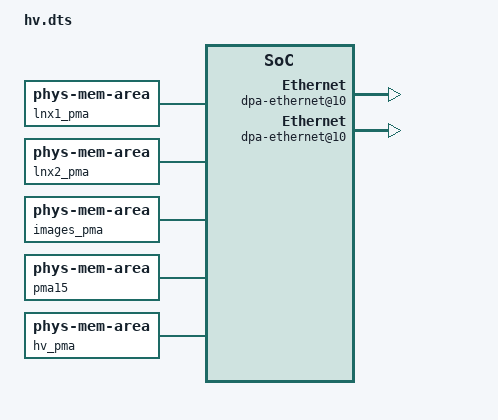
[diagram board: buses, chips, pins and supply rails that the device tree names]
/* Hypervisor Configuration tree containing all hypervisor configuration
 * parameters and partition definition information.
 * (Note -- Please refer to Hypervisor SW Reference Manual
 * (Chapter 5 Configuration) for further details)
 *
 * Copyright 2011 Freescale Semiconductor, Inc.
 */

/dts-v1/;

/ {	// root node

	// The root node of the configuration device tree must contain a
	// compatible property that identifies the device tree as a hypervisor

	compatible = "fsl,hv-config";

	// =====================================================
	// Physical Memory Areas
	// =====================================================
	lnx1_pma: lnx1_pma {
		compatible = "phys-mem-area";
		addr = <0x0 0x00000000>;	// Linux
		size = <0x0 0x40000000>;	// 1GB
	};

	lnx2_pma: lnx2_pma {
		compatible = "phys-mem-area";
		addr = <0x0 0x40000000>;	// Linux
		size = <0x0 0x20000000>;	// 512MB
	};

	images_pma: images_pma {
		compatible = "phys-mem-area";
		addr = <0x0 0x78000000>;	// Used for boot-from-RAM
		size = <0x0 0x04000000>;	// 64MB
	};

	pma15: pma15 {
		compatible = "phys-mem-area";
		addr = <0x0 0x7c000000>;	// For MAC-less Ethernet Linux1 and Linux2
		size = <0x0 0x01000000>;	// 16MB
	};

	hv_pma: hv_pma {
		compatible = "phys-mem-area";
		addr = <0x0 0x7f000000>;	// Hypervisor
		size = <0x0 0x01000000>;	// 16MB
	};

	// =====================================================
	// DMA Windows
	// =====================================================
	dma-windows {
		// DMA window for part1_linux
		dw_linux1: dw_linux1 {
			compatible = "dma-window";
			guest-addr = <0 0>;
			size = <0 0x80000000>; // 2GB
			subwindow-count = <4>;

			sub-window@0 {
				compatible = "dma-subwindow";
				guest-addr = <0 0>;
				size = <0 0x20000000>; // 512MB
			};

			sub-window@1 {
				compatible = "dma-subwindow";
				guest-addr = <0 0x20000000>;
				size = <0 0x20000000>; // 512MB
			};

			sub-window@2 {		// Inter-partition region
				compatible = "dma-subwindow";
				guest-addr = <0 0x40000000>;
				size = <0 0x1000000>; // 16MB
			};

			sub-window@3 {		// MSI sub-window
				compatible = "dma-subwindow";
				guest-addr = <0 0x60000000>;
				size = <0 0x1000>; // 4KB
				pcie-msi-subwindow;
			};
		};

		// DMA window for part2_linux
		dw_linux2: dw_linux2 {
			compatible = "dma-window";
			guest-addr = <0 0>;
			size = <0 0x80000000>; // 2GB
			subwindow-count = <4>;

			sub-window@0 {
				compatible = "dma-subwindow";
				guest-addr = <0 0>;
				size = <0 0x20000000>; // 512MB
			};

			sub-window@1 {		// Inter-partition region
				compatible = "dma-subwindow";
				guest-addr = <0 0x40000000>;
				size = <0 0x1000000>; // 16MB
			};

			sub-window@2 {		// MSI sub-window
				compatible = "dma-subwindow";
				guest-addr = <0 0x60000000>;
				size = <0 0x1000000>; // 64MB
				pcie-msi-subwindow;
			};
		};

		// DMA window for stash_dqrr for qman-portal0
		dw_dqrr_qportal0: window3 {
			compatible = "dma-window";
			guest-addr = <0xf 0xf4200000>;
			size = <0 0x4000>;
		};

		// DMA window for stash_dqrr for qman-portal1
		dw_dqrr_qportal1: window4 {
			compatible = "dma-window";
			guest-addr = <0xf 0xf4204000>;
			size = <0 0x4000>;
		};

		// DMA window for stash_dqrr for qman-portal2
		dw_dqrr_qportal2: window5 {
			compatible = "dma-window";
			guest-addr = <0xf 0xf4208000>;
			size = <0 0x4000>;
		};

		// DMA window for stash_dqrr for qman-portal4
		dw_dqrr_qportal4: window7 {
			compatible = "dma-window";
			guest-addr = <0xf 0xf4210000>;
			size = <0 0x4000>;
		};

		// DMA window for stash_dqrr for qman-portal5
		dw_dqrr_qportal5: window8 {
			compatible = "dma-window";
			guest-addr = <0xf 0xf4214000>;
			size = <0 0x4000>;
		};

		// DMA window for stash_dqrr for qman-portal6
		dw_dqrr_qportal6: window9 {
			compatible = "dma-window";
			guest-addr = <0xf 0xf4218000>;
			size = <0 0x4000>;
		};

		// DMA window for stash_dqrr for qman-portal7
		dw_dqrr_qportal7: window10 {
			compatible = "dma-window";
			guest-addr = <0xf 0xf421c000>;
			size = <0 0x4000>;
		};
	};

	// =====================================================
	// Hypervisor Config
	// Hypervisor is also configured via the Hypervisor
	// configuration tree. A special node and subtree defines
	// set of global configuration parameters and a number of
	// device nodes assigning I/O devices to the hypervisor
	// =====================================================
	hv: hypervisor-config {
		compatible = "hv-config";

		// phandle to byte-channel used for hypervisor's console
		stdout = <&hvbc>;

		hv-memory {
			compatible = "hv-memory";
			phys-mem = <&hv_pma>;
		};

		hvbc: byte-channel {
			compatible = "byte-channel";
			endpoint = <&uartmux>;
			mux-channel = <0>;
		};

		// Device nodes given below are the physical I/O
		// devices assigned to hypervisor
		corenet-law {
			device = "/soc/corenet-law";
		};

		cpc {
			device = "/soc/l3-cache-controller";
		};

		corenet-cf {
			device = "/soc/corenet-cf";
		};

		guts {
			device = "/soc/global-utilities@e0000";
		};

		rcpm {
			device = "/soc/global-utilities@e2000";
		};

		iommu {
			device = "/soc/iommu";
		};

		mpic {
			device = "/soc/pic@40000";
		};

		serial0: serial0 {
			device = "serial0";
		};

		serial1: serial1 {
			device = "serial1";
		};
	};

	// =====================================================
	// UART mux
	// This node is referenced by byte-channels that use mux
	// as an endpoint
	// =====================================================
	uartmux: uartmux {
		compatible = "byte-channel-mux";
		endpoint = <&serial0>;
	};

	// =====================================================
	// To keep the scenarios hv-1/2/4p as diff-able as possible
	// we always use labels part1, part2, part<n>
	// In hv-2p scenario, there are 2 partitions - 2 Linux
	// Partition1 --- part1 --- Linux partition
	// Partition2 --- part2 --- Linux partition
	// =====================================================

	// =====================================================
	// Partition 1
	// =====================================================
	part1 {
		// Indicates that it is a partition node
		compatible = "partition";
		label = "p1-linux";

		// CPUs #0 to #2 are assigned to this partition
		cpus = <0 3>;
		guest-image = <0xf 0xe8020000 0 0 0 0x700000>;
		linux-rootfs = <0xf 0xe9300000 0 0x01300000 0 0x02800000>;
		dtb-window = <0 0x1000000 0 0x12000>;

		// Temporary until Linux uses enable LIODN hcall
		no-dma-disable;

		gpma0 {
			compatible = "guest-phys-mem-area";
			phys-mem = <&lnx1_pma>;
			guest-addr = <0 0>;
		};

		gpma1 {
			compatible = "guest-phys-mem-area";
			phys-mem = <&pma15>;	// Interpartition between Linux1 - Linux2
			guest-addr = <0 0x40000000>;
			node-update {
				delete-prop = "device_type";
			};
		};

		aliases {
			stdout = <&part1_bc0>;
		};

		// =====================================================
		// Devices assigned to the partition - device nodes
		// device node is child of partition node and is used to
		// assign physical I/O devices to partition
		// =====================================================
		part1_bc0: byte-channel@1 {
			compatible = "byte-channel";
			endpoint = <&uartmux>;
			mux-channel = <1>;
		};

		// Bman portals assigned to this partition
		bman-portal@0 {
			device = "/bman-portals/bman-portal@0";
		};

		bman-portal@4000 {
			device = "/bman-portals/bman-portal@4000";
		};

		bman-portal@8000 {
			device = "/bman-portals/bman-portal@8000";
		};

		bman-portal@10000 {
			device = "/bman-portals/bman-portal@10000";
		};

		bman-portal@14000 {
			device = "/bman-portals/bman-portal@14000";
		};

		bman-portal@18000 {
			device = "/bman-portals/bman-portal@18000";
		};

		// Bman buffer pools assigned to this partition
		buffer-pool@7 {
			device = "buffer-pool@7";
		};

		buffer-pool@8 {
			device = "buffer-pool@8";
		};

		buffer-pool@9 {
			device = "buffer-pool@9";
		};

		qman-portal@0 {
			device = "/qman-portals@ff4200000/qman-portal@0";

			node-update {
				delete-node = "rman@0";
			};

			stash-mem {
				liodn-index = <1>;
				dma-window = <&dw_linux1>;
				operation-mapping = <0>;
				stash-dest = <3>;
			};

			stash-dqrr {
				liodn-index = <0>;
				dma-window = <&dw_dqrr_qportal0>;
				operation-mapping = <0>;
				stash-dest = <3>;
			};
		};

		qman-portal@4000 {
			device = "/qman-portals@ff4200000/qman-portal@4000";

			node-update {
				delete-node = "rman@0";
			};

			stash-mem {
				liodn-index = <1>;
				dma-window = <&dw_linux1>;
				operation-mapping = <0>;
				stash-dest = <3>;
			};

			stash-dqrr {
				liodn-index = <0>;
				dma-window = <&dw_dqrr_qportal1>;
				operation-mapping = <0>;
				stash-dest = <3>;
			};
		};

		qman-portal@8000 {
			device = "/qman-portals@ff4200000/qman-portal@8000";

			node-update {
				delete-node = "rman@0";
			};

			stash-mem {
				liodn-index = <1>;
				dma-window = <&dw_linux1>;
				operation-mapping = <0>;
				stash-dest = <3>;
			};

			stash-dqrr {
				liodn-index = <0>;
				dma-window = <&dw_dqrr_qportal2>;
				operation-mapping = <0>;
				stash-dest = <3>;
			};
		};

		qman-portal@10000 {
			device = "/qman-portals@ff4200000/qman-portal@10000";

			node-update {
				delete-node = "rman@0";
			};

			stash-mem {
				liodn-index = <1>;
				dma-window = <&dw_linux1>;
				operation-mapping = <0>;
				stash-dest = <3>;
			};

			stash-dqrr {
				liodn-index = <0>;
				dma-window = <&dw_dqrr_qportal4>;
				operation-mapping = <0>;
				stash-dest = <3>;
			};
		};

		qman-portal@14000 {
			device = "/qman-portals@ff4200000/qman-portal@14000";

			node-update {
				delete-node = "rman@0";
			};

			stash-mem {
				liodn-index = <1>;
				dma-window = <&dw_linux1>;
				operation-mapping = <0>;
				stash-dest = <3>;
			};

			stash-dqrr {
				liodn-index = <0>;
				dma-window = <&dw_dqrr_qportal5>;
				operation-mapping = <0>;
				stash-dest = <3>;
			};
		};

		qman-portal@18000 {
			device = "/qman-portals@ff4200000/qman-portal@18000";

			node-update {
				delete-node = "rman@0";
			};

			stash-mem {
				liodn-index = <1>;
				dma-window = <&dw_linux1>;
				operation-mapping = <0>;
				stash-dest = <3>;
			};

			stash-dqrr {
				liodn-index = <0>;
				dma-window = <&dw_dqrr_qportal6>;
				operation-mapping = <0>;
				stash-dest = <3>;
			};
		};

		memory-controller@8000 {
			device = "/soc/memory-controller@8000";
		};

		msi0: msi@41600 {
			device = "msi0";
		};

		msi2: msi@41a00 {
			device = "msi2";
		};

		dma0 {
			device = "dma0";
			dma-window = <&dw_linux1>;
		};

		sdhc {
			device = "sdhc";
			dma-window = <&dw_linux1>;
		};

		i2c@118000 {
			device = "/soc/i2c@118000";
		};

		i2c@118100 {
			device = "/soc/i2c@118100";
		};

		i2c@119000 {
			device = "/soc/i2c@119000";
		};

		i2c@119100 {
			device = "/soc/i2c@119100";
		};

		serial2 {
			device = "serial2";
		};

		serial3 {
			device = "serial3";
		};

		flash {
			device = "/localbus";
		};

		gpio {
			device = "/soc/gpio";
		};

		pci0 {
			device = "pci0";
			map-ranges;
			dma-window = <&dw_linux1>;
			node-update-phandle{
				fsl,msi = <&msi0>;
			};
		};

		pci2 {
			device = "pci2";
			map-ranges;
			dma-window = <&dw_linux1>;
			node-update-phandle {
				fsl,msi = <&msi2>;
			};
		};

		usb0 {
			device = "usb0";
			dma-window = <&dw_linux1>;
		};

		usb1 {
			device = "usb1";
			dma-window = <&dw_linux1>;
		};

		sata@220000 {
			device = "/soc/sata@220000";
			dma-window = <&dw_linux1>;
		};

		sata@221000 {
			device = "/soc/sata@221000";
			dma-window = <&dw_linux1>;
		};

		crypto {
			device = "/soc/crypto";
			dma-window = <&dw_linux1>;
		};

		pme {
			device = "pme";
			dma-window = <&dw_linux1>;
		};

		qman {
			device = "qman";
			dma-window = <&dw_linux1>;
			operation-mapping = <2>;	// OMI_QMAN_PRIV
			stash-dest = <3>;		// L3/CPC
		};

		bman {
			device = "bman";
			dma-window = <&dw_linux1>;
		};

		fman0 {
			device = "fman0";
			dma-window = <&dw_linux1>;
		};

		// FMAN0 eth0 -- ethernet 0 assigned to this partition
		dpa-ethernet@0 {
			device = "/fsl,dpaa/ethernet@0";
		};

		// FMAN0 eth1 -- ethernet 1 assigned to this partition
		dpa-ethernet@1 {
			device = "/fsl,dpaa/ethernet@1";
		};

		// FMAN0 eth2 -- ethernet 2 assigned to this partition
		dpa-ethernet@2 {
			device = "/fsl,dpaa/ethernet@2";
		};

		// FMAN0 eth3 -- ethernet 3 assigned to this partition
		dpa-ethernet@3 {
			device = "/fsl,dpaa/ethernet@3";
		};

		// FMAN0 eth4 -- ethernet 4 assigned to this partition
		dpa-ethernet@4 {
			device = "/fsl,dpaa/ethernet@4";
		};

		// FMAN0 eth5 -- ethernet 5 assigned to this partition
		dpa-ethernet@5 {
			device = "/fsl,dpaa/ethernet@5";
		};

		portal-devices {
			fman0 {
				device = "fman0";
				dma-window = <&dw_linux1>;
			};

			caam {
				device = "crypto";
				dma-window = <&dw_linux1>;
			};

			pme {
				device = "pme";
				dma-window = <&dw_linux1>;
			};
		};

		node-update {
			part1_bp10: buffer-pool@10 {
				compatible = "fsl,p3041-bpool", "fsl,bpool";
				fsl,bpid = <10>;
				fsl,bpool-ethernet-cfg = <0 0x80 0 192 0 0x40000000>;
				fsl,bpool-ethernet-seeds;
			};

			part1_bp11: buffer-pool@11 {
				compatible = "fsl,p3041-bpool", "fsl,bpool";
				fsl,bpid = <11>;
				fsl,bpool-ethernet-cfg = <0 0x80 0 576 0 0x40006000>;
				fsl,bpool-ethernet-seeds;
			};

			part1_bp12: buffer-pool@12 {
				compatible = "fsl,p3041-bpool", "fsl,bpool";
				fsl,bpid = <12>;
				fsl,bpool-ethernet-cfg = <0 0x80 0 1600 0 0x40018000>;
				fsl,bpool-ethernet-seeds;
			};

			// Add a subnode dpa-ethernet@10 in fsl,dpaa node in GDT
			fsl,dpaa {
				dpa-ethernet@10 {	// Link with Linux2
					compatible = "fsl,p3041-dpa-ethernet", "fsl,dpa-ethernet";
					fsl,qman-frame-queues-rx = <0x4000 8>;
					fsl,qman-frame-queues-tx = <0x4008 8>;
					local-mac-address = [30 41 c0 a8 6f fe];
				};
			};

			chosen {
				bootargs = "usdpaa_mem=64M";
			};
		};

		// Add properties with phandle values to the node dpa-ethernet@10
		node-update-phandle {
			fsl,dpaa {
				dpa-ethernet@10 {
					fsl,bman-buffer-pools = <&part1_bp10 &part1_bp11 &part1_bp12>;
				};
			};
		};

		dpa-fman0-oh@1 {
			device = "/fsl,dpaa/dpa-fman0-oh@1";
		};

		bman-bpids {
			device = "/bman-portals@ff4000000/bman-bpids@0";

			node-update {
				fsl,bpid-range = <32 16>;
			};
		};

		qman-fqids {
			device = "/qman-portals@ff4200000/qman-fqids@0";

			node-update {
				fsl,fqid-range = <0x180 0x80>;
			};
		};

		qman-pools {
			device = "/qman-portals@ff4200000/qman-pools@0";

			node-update {
				fsl,pool-channel-range = <41 7>;
			};
		};

		qman-cgrids {
			device = "/qman-portals@ff4200000/qman-cgrids@0";

			node-update {
				fsl,cgrid-range = <0x80 0x80>;
			};
		};
	};

	// =====================================================
	// Partition 2
	// =====================================================
	part2 {
		compatible = "partition";
		label = "p2-linux";
		// CPU #3 is assigned to this partition
		cpus = <3 1>;
		guest-image = <0xf 0xe8020000 0 0 0 0x700000>;
		linux-rootfs = <0xf 0xe9300000 0 0x01300000 0 0x02800000>;
		dtb-window = <0 0x1000000 0 0x12000>;

		// Temporary until Linux uses enable LIODN hcall
		no-dma-disable;

		gpma0 {
			compatible = "guest-phys-mem-area";
			phys-mem = <&lnx2_pma>;
			guest-addr = <0 0>;
		};

		gpma1 {
			compatible = "guest-phys-mem-area";
			phys-mem = <&pma15>;	// Interpartition between Linux1 - Linux2
			guest-addr = <0 0x40000000>;
			node-update {
				delete-prop = "device_type";
			};
		};

		aliases {
			stdout = <&part2_bc0>;
		};

		// =====================================================
		// Devices assigned to the partition - device nodes
		// device node is child of partition node and is used to
		// assign physical I/O devices to partition
		// =====================================================
		part2_bc0: byte-channel@2 {
			compatible = "byte-channel";
			endpoint = <&uartmux>;
			mux-channel = <2>;
		};

		bman-portal@1c000 {
			device = "/bman-portals/bman-portal@1c000";
			node-update {
				delete-prop = "fsl,usdpaa-portal";
			};
		};

		part2_qportal7: qman-portal@1c000 {
			device = "/qman-portals@ff4200000/qman-portal@1c000";

			node-update {
				delete-prop = "fsl,usdpaa-portal";
				delete-node = "rman@0", "fman@0", "pme@0", "crypto@0";
			};

			stash-mem {
				liodn-index = <1>;
				dma-window = <&dw_linux2>;
				operation-mapping = <0>;
				stash-dest = <3>;
			};

			stash-dqrr {
				liodn-index = <0>;
				dma-window = <&dw_dqrr_qportal7>;
				operation-mapping = <0>;
				stash-dest = <3>;
			};
		};

		dma1 {
			device = "dma1";
			dma-window = <&dw_linux2>;
		};

		node-update {
			// =====================================================
			// Even though it's part1 that seeds these buffer pools,
			// their "fsl,bpool-ethernet-cfg" properties must match
			// those in part1 exactly, since the resulting buffer
			// addresses will be exchanged between the partitions
			// through QMan, via FDs, without further translation.
			// Furthermore, the addresses must be mapable in both
			// guests, and, when mapped on either guest,
			// each should point to the same physical memory,
			// otherwise a segfault/machine check will occur.
			// =====================================================
			part2_bp10: buffer-pool@10 {
				compatible = "fsl,p3041-bpool", "fsl,bpool";
				fsl,bpid = <10>;
				fsl,bpool-ethernet-cfg = <0 0x80 0 192 0 0x40000000>;
			};

			part2_bp11: buffer-pool@11 {
				compatible = "fsl,p3041-bpool", "fsl,bpool";
				fsl,bpid = <11>;
				fsl,bpool-ethernet-cfg = <0 0x80 0 576 0 0x40006000>;
			};

			part2_bp12: buffer-pool@12 {
				compatible = "fsl,p3041-bpool", "fsl,bpool";
				fsl,bpid = <12>;
				fsl,bpool-ethernet-cfg = <0 0x80 0 1600 0 0x40018000>;
			};

			fsl,dpaa {
				compatible = "fsl,p3041-dpaa", "fsl,dpaa";
				dpa-ethernet@10 {	// Link with Linux1
					compatible = "fsl,p3041-dpa-ethernet", "fsl,dpa-ethernet";
					fsl,qman-frame-queues-rx = <0x4008 8>;
					fsl,qman-frame-queues-tx = <0x4000 8>;
					local-mac-address = [30 41 c0 a8 79 fe];
				};
			};

			chosen {
				bootargs = "usdpaa_mem=64M";
			};
		};

		node-update-phandle {
			fsl,dpaa {
				dpa-ethernet@10 {
					fsl,bman-buffer-pools = <&part2_bp10 &part2_bp11 &part2_bp12>;
				};
			};
		};

		bman-bpids {
			device = "/bman-portals@ff4000000/bman-bpids@0";

			node-update {
				fsl,bpid-range = <48 16>;
			};
		};

		qman-fqids {
			device = "/qman-portals@ff4200000/qman-fqids@0";

			node-update {
				fsl,fqid-range = <0x100 0x80>;
			};
		};

		qman-pools {
			device = "/qman-portals@ff4200000/qman-pools@0";

			node-update {
				fsl,pool-channel-range = <33 8>;
			};
		};

		qman-cgrids {
			device = "/qman-portals@ff4200000/qman-cgrids@0";

			node-update {
				fsl,cgrid-range = <0 0x80>;
			};
		};
	};
};
